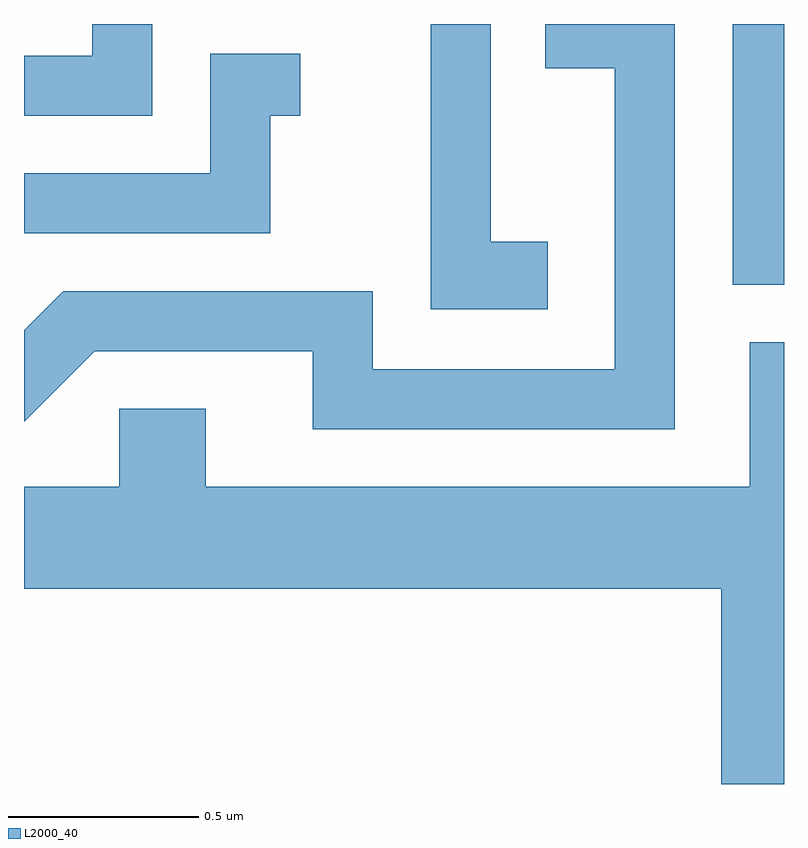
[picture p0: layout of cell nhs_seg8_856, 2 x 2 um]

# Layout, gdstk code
import gdstk
lib = gdstk.Library(unit=1e-6, precision=1e-09)
def R(c, l, rs):  # rectangles x0, y0, x1, y1
    for r in rs: c.add(gdstk.rectangle(r[:2], r[2:], *l))
def P(c, l, *ps):  # polygons
    for p in ps: c.add(gdstk.Polygon(p, *l))
L2000_40 = (2000, 40)

nhs_seg8_856 = lib.new_cell('nhs_seg8_856')
R(nhs_seg8_856, L2000_40, [(193.476,1841.656,193.611,1842.342)])
P(nhs_seg8_856, L2000_40, [(193.324,1842.342),(192.983,1842.342),(192.983,1842.226),(193.166,1842.226),(193.166,1841.434),(192.529,1841.434),(192.529,1841.639),(191.714,1841.639),(191.611,1841.536),(191.611,1841.295),(191.797,1841.481),(192.371,1841.481),(192.371,1841.276),(193.324,1841.276)],
  [(191.949,1842.342),(191.791,1842.342),(191.791,1842.259),(191.611,1842.259),(191.611,1842.101),(191.949,1842.101)],
  [(192.989,1841.769),(192.839,1841.769),(192.839,1842.342),(192.681,1842.342),(192.681,1841.591),(192.989,1841.591)],
  [(192.259,1842.101),(192.338,1842.101),(192.338,1842.264),(192.101,1842.264),(192.101,1841.949),(191.611,1841.949),(191.611,1841.791),(192.259,1841.791)],
  [(193.611,1841.504),(193.521,1841.504),(193.521,1841.124),(192.089,1841.124),(192.089,1841.329),(191.861,1841.329),(191.861,1841.124),(191.611,1841.124),(191.611,1840.856),(193.446,1840.856),(193.446,1840.342),(193.611,1840.342)])

lib.write_gds('nhs_seg8_856.gds')
